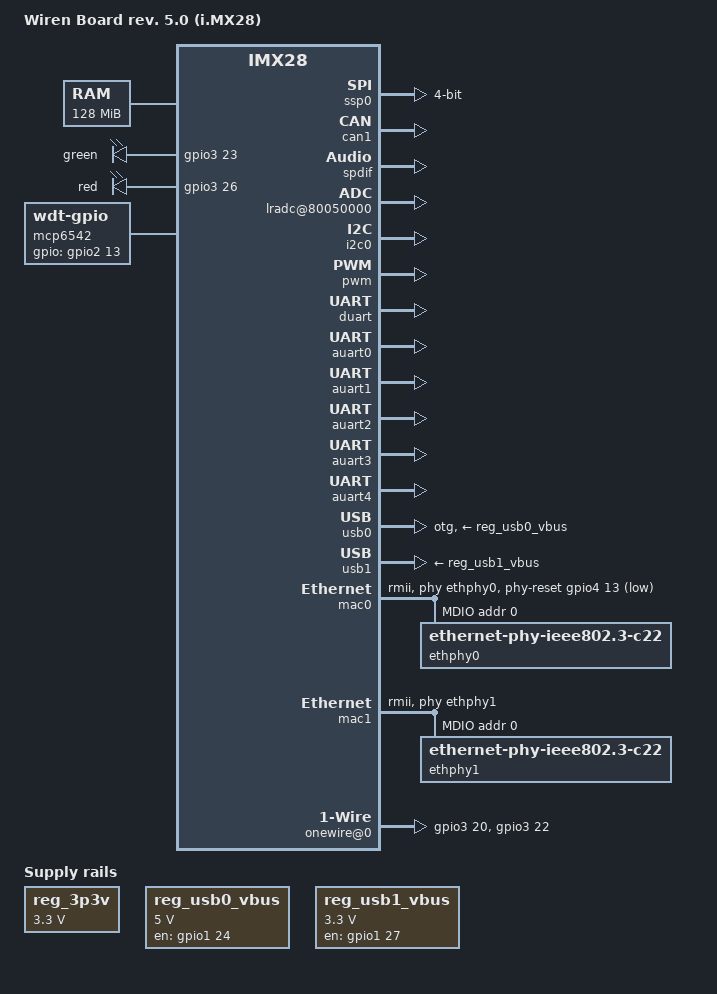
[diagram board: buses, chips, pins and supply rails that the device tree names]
/*
 * Copyright 2012 Freescale Semiconductor, Inc.
 *
 * The code contained herein is licensed under the GNU General Public
 * License. You may obtain a copy of the GNU General Public License
 * Version 2 or later at the following locations:
 *
 * http://www.opensource.org/licenses/gpl-license.html
 * http://www.gnu.org/copyleft/gpl.html
 */

/dts-v1/;
#include "imx28.dtsi"

/ {
	model = "Wiren Board rev. 5.0 (i.MX28)";
	compatible = "contactless,imx28-wirenboard50", "fsl,imx28";

	memory {
		reg = <0x40000000 0x08000000>;
	};

	apb@80000000 {
		apbh@80000000 {
			ssp0: ssp@80010000 {
				compatible = "fsl,imx28-mmc";
				pinctrl-names = "default";
				pinctrl-0 = <&mmc0_4bit_pins_a
					&mmc0_cd_cfg &mmc0_sck_cfg>;
				bus-width = <4>;
//				vmmc-supply = <&reg_vddio_sd0>;
				status = "okay";
			};

			ssp2: ssp@80014000 {
				#address-cells = <1>;
				#size-cells = <0>;
				compatible = "fsl,imx28-spi";
				pinctrl-names = "default";
				pinctrl-0 = <&spi2_pins_a>;
				status = "disabled";
			};

			pinctrl@80018000 {
				pinctrl-names = "default";
				pinctrl-0 = <&hog_pins_a
							 &io_pin_gpio
							 &mod2_pins
				>;


				mod2_pins: mod2_pins@0 {
					reg = <0>;
					fsl,pinmux-ids = <
					>;
					fsl,drive-strength = <MXS_DRIVE_8mA>;
					fsl,voltage = <MXS_VOLTAGE_HIGH>;
					fsl,pull-up = <MXS_PULL_DISABLE>;
				};
								hog_pins_a: hog@0 {
					reg = <0>;
					fsl,pinmux-ids = <
						0x40d3 /* FEC RESET  */

						0x11B3 /* USB1 PWR */
						0x1183 /* USB0 PWR */
					>;
					fsl,drive-strength = <0>;
					fsl,voltage = <1>;
					fsl,pull-up = <0>;
				};


				leds_pin_gpio: leds_pin_gpio@0 {
					reg = <0>;
					fsl,pinmux-ids = <
						MX28_PAD_SAIF0_SDATA0__GPIO_3_23
						MX28_PAD_SAIF1_SDATA0__GPIO_3_26
					>;
					fsl,drive-strength = <0>;
					fsl,voltage = <1>;
 					fsl,pull-up = <0>;
				};


				io_pin_gpio: io_pin_gpio@0 {
					reg = <0>;
					fsl,pinmux-ids = <
						MX28_PAD_GPMI_D04__GPIO_0_4 /* A1 in */
						MX28_PAD_GPMI_D05__GPIO_0_5 /* A2 in */
						MX28_PAD_GPMI_D06__GPIO_0_6 /* A3 in */
						MX28_PAD_GPMI_D07__GPIO_0_7 /* R1 in */
						MX28_PAD_GPMI_RESETN__GPIO_0_28 /* A4 in */
						MX28_PAD_GPMI_CLE__GPIO_0_27 /* R2 IN */
						MX28_PAD_GPMI_ALE__GPIO_0_26 /* A1 out */
						MX28_PAD_GPMI_CE0N__GPIO_0_16 /* A2 out */
						MX28_PAD_GPMI_RDN__GPIO_0_24 /* A3 out */
						MX28_PAD_GPMI_RDY0__GPIO_0_20 /* A4 out */

						MX28_PAD_SAIF0_MCLK__GPIO_3_20 /* 1-wire */
						MX28_PAD_SAIF0_BITCLK__GPIO_3_22 /* 1-wire pull-up */

						MX28_PAD_GPMI_D02__GPIO_0_2 /* POWER_SIM900 */
						MX28_PAD_LCD_D07__GPIO_1_7 /* STATUS SIM900 */
						MX28_PAD_LCD_D06__GPIO_1_6 /* IRQ_RFM69 */
						MX28_PAD_LCD_D05__GPIO_1_5 /* RFM69 DIO2 */
						MX28_PAD_LCD_D11__GPIO_1_11  /* STAT1 */
						MX28_PAD_LCD_D10__GPIO_1_10  /* STAT2 */

						MX28_PAD_SSP1_CMD__GPIO_2_13 /* watchdog out */

						MX28_PAD_SSP1_DATA3__GPIO_2_15 /* rs-485/CAN */

						MX28_PAD_PWM2__USB0_ID  /* USB ID */

						MX28_PAD_AUART3_CTS__GPIO_3_14 /* CIR in */
						MX28_PAD_SAIF0_BITCLK__GPIO_3_22 /* 1-wire pull-up */
						/* MX28_PAD_AUART1_RTS__GPIO_3_7 */ /* RTS AUART1 */

						MX28_PAD_LCD_CS__GPIO_1_27 /* Wi-Fi power enable */
					>;
					fsl,drive-strength = <0>;
					fsl,voltage = <1>;
 					fsl,pull-up = <0>;
				};



				ssp1_pins_a: ssp1@0 {
					reg = <0>;
					fsl,pinmux-ids = <
						MX28_PAD_GPMI_RDY1__SSP1_CMD
						MX28_PAD_GPMI_D00__SSP1_D0
						MX28_PAD_GPMI_WRN__SSP1_SCK
						MX28_PAD_GPMI_D03__SSP1_D3
					>;
					fsl,drive-strength = <MXS_DRIVE_8mA>;
					fsl,voltage = <MXS_VOLTAGE_HIGH>;
					fsl,pull-up = <MXS_PULL_ENABLE>;
				};

				spi1_pins_a_gpio: spi1@0 {
					reg = <0>;
					fsl,pinmux-ids = <
						MX28_PAD_GPMI_RDY1__GPIO_0_21
						MX28_PAD_GPMI_D00__GPIO_0_0
						MX28_PAD_GPMI_WRN__GPIO_0_25
						MX28_PAD_GPMI_D03__GPIO_0_3
					>;
					fsl,drive-strength = <MXS_DRIVE_8mA>;
					fsl,voltage = <MXS_VOLTAGE_HIGH>;
					fsl,pull-up = <MXS_PULL_ENABLE>;
				};

				spi2_pins_a_gpio: spi2@0 {
					reg = <0>;
					fsl,pinmux-ids = <
						MX28_PAD_SSP2_SCK__GPIO_2_16
						MX28_PAD_SSP2_MOSI__GPIO_2_17
						MX28_PAD_SSP2_MISO__GPIO_2_18
						MX28_PAD_SSP2_SS0__GPIO_2_19
					>;
					fsl,drive-strength = <MXS_DRIVE_8mA>;
					fsl,voltage = <MXS_VOLTAGE_HIGH>;
					fsl,pull-up = <MXS_PULL_ENABLE>;
				};








				auart1_3pins_a: auart1-3pins-rs485@0 {
					reg = <0>;
					fsl,pinmux-ids = <
						MX28_PAD_AUART1_RX__AUART1_RX
						MX28_PAD_AUART1_TX__AUART1_TX
						MX28_PAD_AUART1_RTS__AUART1_RTS
					>;
					fsl,drive-strength = <MXS_DRIVE_4mA>;
					fsl,voltage = <MXS_VOLTAGE_HIGH>;
					fsl,pull-up = <MXS_PULL_DISABLE>;
				};

				auart2_3pins_a: auart2-3pins-rs485@0 {
					reg = <0>;
					fsl,pinmux-ids = <
						MX28_PAD_AUART2_RX__AUART2_RX
						MX28_PAD_AUART2_TX__AUART2_TX
						MX28_PAD_AUART2_RTS__AUART2_RTS
					>;
					fsl,drive-strength = <MXS_DRIVE_4mA>;
					fsl,voltage = <MXS_VOLTAGE_HIGH>;
					fsl,pull-up = <MXS_PULL_DISABLE>;
				};


				auart3_3pins_a: auart3-3pins-rs485@0 {
					reg = <0>;
					fsl,pinmux-ids = <
						MX28_PAD_AUART3_RX__AUART3_RX
						MX28_PAD_AUART3_TX__AUART3_TX
						MX28_PAD_AUART3_RTS__AUART3_RTS
					>;
					fsl,drive-strength = <MXS_DRIVE_4mA>;
					fsl,voltage = <MXS_VOLTAGE_HIGH>;
					fsl,pull-up = <MXS_PULL_DISABLE>;
				};

				auart4_3pins_a: auart4-3pins-rs485@0 {
					reg = <0>;
					fsl,pinmux-ids = <
						MX28_PAD_AUART0_CTS__AUART4_RX
						MX28_PAD_AUART0_RTS__AUART4_TX
						MX28_PAD_SAIF0_LRCLK__AUART4_RTS
					>;
					fsl,drive-strength = <MXS_DRIVE_4mA>;
					fsl,voltage = <MXS_VOLTAGE_HIGH>;
					fsl,pull-up = <MXS_PULL_DISABLE>;
				};



			};


			can1: can@80034000 {
				pinctrl-names = "default";
				pinctrl-0 = <&can1_pins_a>;
				status = "okay";
			};
		};

		apbx@80040000 {
			spdif: spdif@80054000 {
				status = "okay";
			};

			lradc@80050000 {
				status = "okay";
			};

			mxs_rtc: rtc@80056000 {
				status = "okay";
			};

			i2c0: i2c@80058000 {
				pinctrl-names = "default";
				pinctrl-0 = <&i2c0_pins_a>;
				status = "okay";

			};

			pwm: pwm@80064000 {
				pinctrl-names = "default";
				pinctrl-0 = <&pwm3_pins_a
						     &pwm4_pins_a>;
				status = "okay";
			};

			duart: serial@80074000 {
				pinctrl-names = "default";
				pinctrl-0 = <&duart_pins_a>;
				status = "okay";
			};

			auart0: serial@8006a000 {
				pinctrl-names = "default";
				pinctrl-0 = <&auart0_2pins_a>;
				status = "okay";
			};

			auart1: serial@8006c000 {
				pinctrl-names = "default";
				pinctrl-0 = <&auart1_3pins_a>;
				status = "okay";
				linux,rs485-enabled-at-boot-time;
			};

			auart2: serial@8006e000 {
			        pinctrl-names = "default";
			        pinctrl-0 = <&auart2_3pins_a>;
			        status = "okay";
			        linux,rs485-enabled-at-boot-time;
			};

			auart3: serial@80070000 {
				pinctrl-names = "default";
				pinctrl-0 = <&auart3_3pins_a>;
				status = "okay";
				linux,rs485-enabled-at-boot-time;
			};

			auart4: serial@80072000 {
				pinctrl-names = "default";
				pinctrl-0 = <&auart4_3pins_a>;
				status = "okay";
				linux,rs485-enabled-at-boot-time;
			};

			usbphy0: usbphy@8007c000 {
				status = "okay";
			};

			usbphy1: usbphy@8007e000 {
				status = "okay";
			};
		};
	};

	ahb@80080000 {
		usb0: usb@80080000 {
			vbus-supply = <&reg_usb0_vbus>;
			status = "okay";
			dr_mode = "otg";
		};

		usb1: usb@80090000 {
			vbus-supply = <&reg_usb1_vbus>;
			status = "okay";
		};

		mac0: ethernet@800f0000 {
			phy-mode = "rmii";
			pinctrl-names = "default";
			pinctrl-0 = <&mac0_pins_a>;
			phy-handle = <&ethphy0>;
			phy-reset-gpios = <&gpio4 13 0>;
			phy-reset-duration = <100>;
			status = "okay";

			mdio {
				#address-cells = <1>;
				#size-cells = <0>;

				ethphy0: ethernet-phy@0 {
					compatible = "ethernet-phy-ieee802.3-c22";
					max-speed = <100>;
					reg = <0>;
					smsc,disable-energy-detect;
				};
			 };
		};

		mac1: ethernet@800f4000 {
			phy-mode = "rmii";
			pinctrl-names = "default";
			pinctrl-0 = <&mac1_pins_a>;
			phy-handle = <&ethphy1>;
			status = "okay";

			mdio {
				#address-cells = <1>;
				#size-cells = <0>;

				ethphy1: ethernet-phy@0 {
					compatible = "ethernet-phy-ieee802.3-c22";
					max-speed = <100>;
					reg = <0>;
					smsc,disable-energy-detect;
				};
			};
		};
	};

	regulators {
		compatible = "simple-bus";

		reg_3p3v: 3p3v {
			compatible = "regulator-fixed";
			regulator-name = "3P3V";
			regulator-min-microvolt = <3300000>;
			regulator-max-microvolt = <3300000>;
			regulator-always-on;
		};

		reg_usb0_vbus: usb0_vbus {
			compatible = "regulator-fixed";
			regulator-name = "usb0_vbus";
			regulator-min-microvolt = <5000000>;
			regulator-max-microvolt = <5000000>;
			gpio = <&gpio1 24 0>;   // ruslan
			enable-active-high;
		};

		reg_usb1_vbus: usb1_vbus {
			compatible = "regulator-fixed";
			regulator-name = "usb1_vbus";
			regulator-min-microvolt = <3300000>;
			regulator-max-microvolt = <3300000>;
			gpio = <&gpio1 27 0>;
			enable-active-high;
		};
	};


	leds {
		compatible = "gpio-leds";
		pinctrl-names = "default";
		pinctrl-0 = <&leds_pin_gpio>;

		green {
			label = "green";
			gpios = <&gpio3 23 0>;
			linux,default-trigger = "none";
		};

		red {
			label = "red";
			gpios = <&gpio3 26 0>;
			linux,default-trigger = "timer";
		};
	};


	/* Enable 1-wire network on terminal block W1 */
	onewire@0 {
		compatible = "w1-gpio";
		gpios = <&gpio3 20 0>, <&gpio3 22 0>;
	};


	mcp6542: watchdog {
		/* watchdog timer on mcp6542  */
		compatible = "linux,wdt-gpio";
		gpios = <&gpio2 13 0>;
		hw_algo = "toggle";
		hw_margin_ms = <100>;
		always-running;
		timeout-sec = <30>;
		status = "okay";
	};

};
